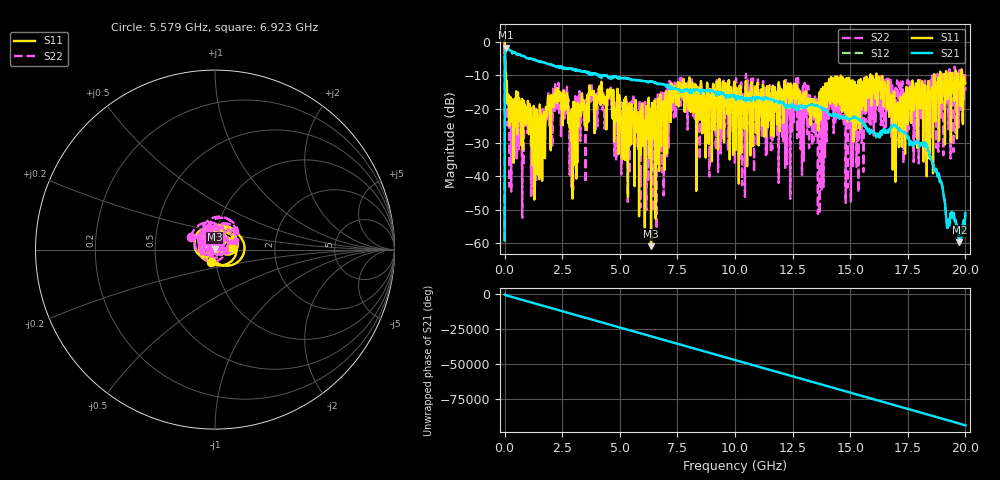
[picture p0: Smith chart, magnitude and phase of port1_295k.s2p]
! MS46122B
! 2250307/22442219
! 7/31/2025 8:25:14 AM
! C:\USERS\SPARKY\DOCUMENTS\VNA_DATA\JULY31_2025\295K\PORT1.S2P
! CHANNEL.1
! TR.MEASUREMENT
! RAW.DATA
# GHZ S RI R 50.0
! FREQ.GHZ  S11RE  S11IM  S21RE  S21IM  S12RE  S12IM  S22RE  S22IM
!; PortSelection: Port_12
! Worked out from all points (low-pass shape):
!   10001 points, 1 MHz to 20 GHz, reference 50 ohm
!   highest |S21| = -1.71 dB at 45 MHz (marker M1); lowest = -59.6 dB at 19.74 GHz (marker M2)
!   |S21| within 3 dB of the highest: 10.5 MHz to 934 MHz (923.5 MHz wide, 196 % of centre)
!   lowest |S11| = -60.8 dB at 6.357 GHz (marker M3), VSWR 1.00, Z = 50 + j0.087 ohm
!   |S11| at or under -10 dB: 62.17 MHz to 15.87 GHz (15.8 GHz wide, 198 % of centre); 15.88 GHz to 16.12 GHz (237.9 MHz wide, 1.49 % of centre); 16.15 GHz to 18.64 GHz (2.494 GHz wide, 14.3 % of centre) (the widest 3 of 12)
!   |S22| runs from -55.8 to -0.1 dB; largest |S21 - S12| = 0.059
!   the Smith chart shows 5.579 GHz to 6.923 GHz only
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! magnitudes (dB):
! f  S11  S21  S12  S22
! 1 MHz  0.4  -59.1  -59.1  -0.1
! 45 MHz  -9.9  -1.7  -2.0  -12.5
! 111 MHz  -16.4  -2.0  -2.1  -16.6
! 1.231 GHz  -30.4  -5.2  -5.2  -34.2
! 2.267 GHz  -17.8  -7.4  -7.4  -13.2
! 2.917 GHz  -20.0  -8.2  -8.2  -20.0
! 3.335 GHz  -18.6  -8.7  -8.8  -15.6
! 4.547 GHz  -15.3  -10.8  -10.6  -16.9
! 5.343 GHz  -22.7  -11.0  -10.9  -29.8
! 6.357 GHz  -60.8  -11.8  -11.8  -21.4
! 6.669 GHz  -17.8  -12.5  -12.5  -24.2
! 7.689 GHz  -15.2  -14.5  -14.3  -10.2
! 8.809 GHz  -13.8  -14.2  -14.3  -21.0
! 10 GHz  -15.6  -16.1  -16.2  -23.3
! 13.33 GHz  -18.5  -18.6  -18.5  -22.1
! 14.17 GHz  -10.6  -21.9  -21.9  -13.5
! 15.19 GHz  -11.9  -22.6  -22.5  -27.4
! 16.67 GHz  -14.4  -26.6  -26.7  -11.0
! 17.04 GHz  -18.5  -25.5  -25.7  -11.5
! 18.27 GHz  -18.3  -30.3  -30.3  -15.8
! 19.74 GHz  -13.3  -59.6  -59.3  -8.6
! 20 GHz  -12.3  -50.9  -51.6  -14.5
